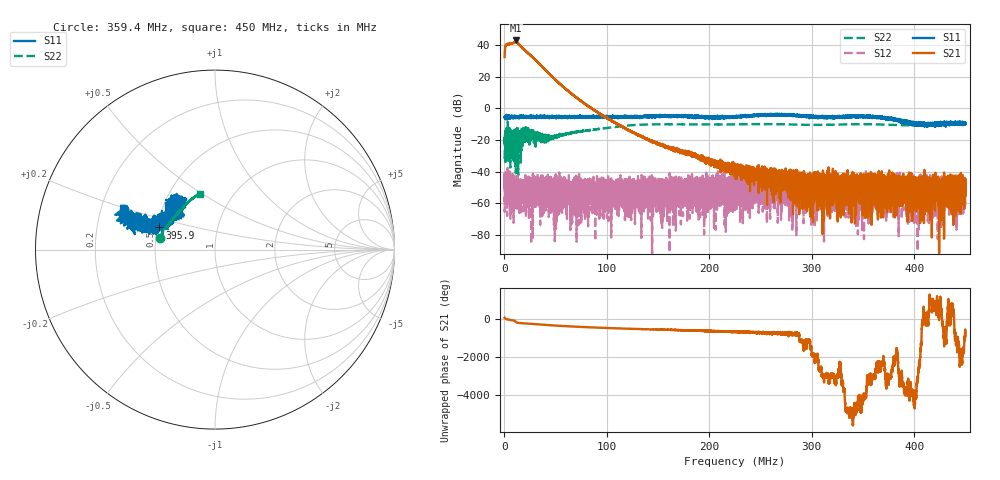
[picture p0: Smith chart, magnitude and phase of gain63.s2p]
# Hz S DB R 50
! CMT, M5065, 19127446, 24.2.4/2
! Date: 12/3/2024 4:13:33 PM
! Data: Format (Calibration Info)
! Freq	S11:dB/Ang(F2)	S21:dB/Ang(F2)	S12:dB/Ang(F2)	S22:dB/Ang(F2)
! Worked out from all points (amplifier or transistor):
!   9000 points, 300 kHz to 450 MHz, reference 50 ohm
!   highest |S21| = 42.9 dB at 11.14 MHz (marker M1)
!   |S21| within 3 dB of that: 1.611 MHz to 15.04 MHz (13.43 MHz wide, 161 % of centre)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
!   unconditionally stable (mu >= 1): 13.35 MHz to 15.03 MHz; 16.74 MHz to 20.54 MHz; 20.54 MHz to end of sweep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
!   at 75.26 MHz: K = 43.43, MAG = 6.1 dB, |S12| = -46.4 dB
!   at 225.2 MHz: K = 3497.96, MAG = -34.0 dB, |S12| = -44.9 dB
!   at 450 MHz: K = 30675.36, MAG = -45.4 dB, |S12| = -51.3 dB
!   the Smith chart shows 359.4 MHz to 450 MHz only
!   S11 on the Smith chart (normalised r, x): 359.4 MHz: 0.30, +0.19; 395.9 MHz: 0.51, +0.14; 450 MHz: 0.53, +0.30
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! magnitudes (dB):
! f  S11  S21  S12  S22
! 300 kHz  -5.7  32.3  -50.4  -31.0
! 2.649 MHz  -5.4  40.4  -47.0  -19.7
! 11.14 MHz  -6.4  42.9  -52.6  -18.4
! 19.64 MHz  -5.4  36.9  -54.3  -15.3
! 39.83 MHz  -5.9  24.5  -46.3  -17.3
! 48.52 MHz  -5.4  18.8  -62.5  -18.2
! 75.26 MHz  -5.6  4.5  -46.4  -14.4
! 150.2 MHz  -4.9  -22.2  -50.7  -10.1
! 225.2 MHz  -5.3  -35.9  -44.9  -10.2
! 249.4 MHz  -4.5  -43.1  -52.5  -10.0
! 293.5 MHz  -5.1  -57.0  -50.7  -10.5
! 300.1 MHz  -4.8  -47.5  -55.5  -10.5
! 322.6 MHz  -5.5  -47.3  -64.8  -10.4
! 326.6 MHz  -5.4  -56.1  -57.4  -10.3
! 333.9 MHz  -5.6  -56.4  -46.5  -10.2
! 350.7 MHz  -5.5  -41.5  -48.3  -10.1
! 359.4 MHz  -5.1  -51.3  -46.4  -10.1
! 375.1 MHz  -6.3  -54.0  -59.4  -10.4
! 395.9 MHz  -9.5  -49.8  -52.7  -10.8
! 446.7 MHz  -10.0  -56.8  -50.2  -9.9
! 450 MHz  -8.9  -53.7  -57.2  -10.0
! 450 MHz  -9.4  -46.4  -51.3  -10.0
